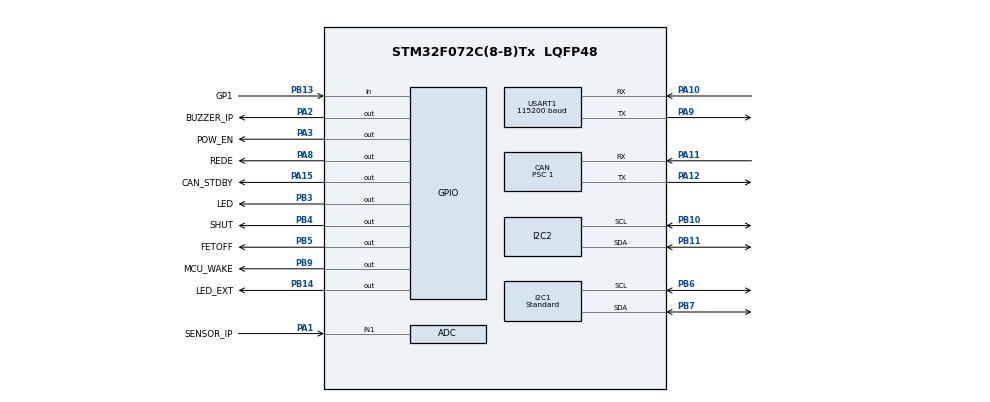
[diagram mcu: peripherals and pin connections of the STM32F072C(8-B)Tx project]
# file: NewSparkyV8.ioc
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ADC.LowPowerAutoPowerOff=ENABLE
ADC.LowPowerAutoWait=ENABLE
CAN.BS1=CAN_BS1_13TQ
CAN.BS2=CAN_BS2_2TQ
CAN.CalculateBaudRate=500000
CAN.CalculateTimeBit=2000
CAN.CalculateTimeQuantum=125.0
CAN.Prescaler=1
I2C1.I2C_Speed_Mode=I2C_Standard
Mcu.Family=STM32F0
Mcu.Name=STM32F072C(8-B)Tx
Mcu.Package=LQFP48
NVIC.CEC_CAN_IRQn=true\:0\:0\:false\:false\:true\:true\:true\:true
NVIC.TIM15_IRQn=true\:0\:0\:false\:false\:true\:true\:true\:true
NVIC.TIM3_IRQn=true\:0\:0\:false\:false\:true\:true\:true\:true
PA1.GPIO_Label=SENSOR_IP
PA1.Mode=IN1
PA1.Signal=ADC_IN1
PA10.Mode=Asynchronous
PA10.Signal=USART1_RX
PA11.Mode=CAN_Activate
PA11.Signal=CAN_RX
PA12.Mode=CAN_Activate
PA12.Signal=CAN_TX
PA13.Mode=Serial_Wire
PA13.Signal=SYS_SWDIO
PA14.Mode=Serial_Wire
PA14.Signal=SYS_SWCLK
PA15.GPIO_Label=CAN_STDBY
PA15.Signal=GPIO_Output
PA2.GPIO_Label=BUZZER_IP
PA2.Signal=GPIO_Output
PA3.GPIO_Label=POW_EN
PA3.Signal=GPIO_Output
PA8.GPIO_Label=REDE
PA8.Signal=GPIO_Output
PA9.Mode=Asynchronous
PA9.Signal=USART1_TX
PB10.Mode=I2C
PB10.Signal=I2C2_SCL
PB11.Mode=I2C
PB11.Signal=I2C2_SDA
PB13.GPIO_Label=GP1
PB13.Signal=GPIO_Input
PB14.GPIO_Label=LED_EXT
PB14.Signal=GPIO_Output
PB3.GPIO_Label=LED
PB3.Signal=GPIO_Output
PB4.GPIO_Label=SHUT
PB4.Signal=GPIO_Output
PB5.GPIO_Label=FETOFF
PB5.Signal=GPIO_Output
PB6.Mode=I2C
PB6.Signal=I2C1_SCL
PB7.Mode=I2C
PB7.Signal=I2C1_SDA
PB9.GPIO_Label=MCU_WAKE
PB9.Signal=GPIO_Output
PC14-OSC32_IN.Mode=LSE-External-Oscillator
PC14-OSC32_IN.Signal=RCC_OSC32_IN
PC15-OSC32_OUT.Mode=LSE-External-Oscillator
PC15-OSC32_OUT.Signal=RCC_OSC32_OUT
PF0-OSC_IN.Mode=HSE-External-Oscillator
PF0-OSC_IN.Signal=RCC_OSC_IN
PF1-OSC_OUT.Mode=HSE-External-Oscillator
PF1-OSC_OUT.Signal=RCC_OSC_OUT
ProjectManager.HeapSize=0x200
ProjectManager.StackSize=0x400
ProjectManager.TargetToolchain=STM32CubeIDE
RCC.I2c1ClockSelection=RCC_I2C1CLKSOURCE_SYSCLK
RTC.Format=RTC_FORMAT_BIN
RTC.Hours=11
RTC.Minutes=53
RTC.Month=RTC_MONTH_JULY
RTC.Year=24
TIM15.Period=1000-1
TIM15.Prescaler=8000-1
TIM3.Period=1000-1
TIM3.Prescaler=16-1
USART1.BaudRate=115200
USART1.VirtualMode-Asynchronous=VM_ASYNC
VP_RTC_VS_RTC_Activate.Mode=RTC_Enabled
VP_RTC_VS_RTC_Calendar.Mode=RTC_Calendar
VP_TIM15_VS_ClockSourceINT.Mode=Internal
VP_TIM3_VS_ClockSourceINT.Mode=Internal
board=custom

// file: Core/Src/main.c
/* USER CODE BEGIN Header */
/**
  ******************************************************************************
  * @file           : main.c
  * @brief          : Main program body
  * Author: Rohit N Ghosh
  ******************************************************************************
  * @attention
  *
  * Copyright (c) 2022 STMicroelectronics.
  * All rights reserved.
  *
  * This software is licensed under terms that can be found in the LICENSE file
  * in the root directory of this software component.
  * If no LICENSE file comes with this software, it is provided AS-IS.
  *
  ******************************************************************************
  ******************************************************************************

  TODO:LL UART DRIVER
  TODO: LL I2C DRIVER
  TODO: DOD Algorithm

  NOTE: DISABLE  __HAL_LOCK(huart); for UART Tx and Rx HAL functions.

  NOTE: Timer1,Timer2 and Timer3 are variables. Timer1 and Timer2 are related to TIM3 of the MCU and Timer3 is related to TIM15 of the MCU

	This code is for STM32F072C8Tx microcontroller
  */

/*
 * In this version of code, charger connection and disconnection detection is implemented. Independent WatchDog Timer implemented.
 */
/* USER CODE END Header */
#include "main.h"

/* USER CODE BEGIN Includes */
#include <string.h>
#include "bq76952.h"
#include "BQ76952_default_config.h"
#include "flash_072c8.h"
#include "SOCtasks.h"
#include "math.h"
#include "watchdog.h"

//#include "fonts.h"
//#include "can.h"
/* USER CODE END Includes */

/* USER CODE BEGIN PD */
/* Temperature sensor calibration value address */
#define TEMP110_CAL_ADDR ((uint16_t*) ((uint32_t) 0x1FFFF7C2))
#define TEMP30_CAL_ADDR ((uint16_t*) ((uint32_t) 0x1FFFF7B8))
#define VDD_CALIB ((uint16_t) (330))
#define VDD_APPLI ((uint16_t) (300))
float temperature; /* will contain the temperature in degrees Celsius */
#define PID_OFFSET 0

#define DCDP1 3300
#define DCDP2 3200
#define DCDP3 3100
#define DCDP4 3050
#define DCDP5 3000
#define DCDP6 2950
#define DCDP7 2900
#define DCDP8 2850
#define DCDP9 2800

#define CHDP1 3900
#define CHDP2 4000
#define CHDP3 4150
/* USER CODE END PD */

ADC_HandleTypeDef hadc;

CAN_HandleTypeDef hcan;

I2C_HandleTypeDef hi2c1;
I2C_HandleTypeDef hi2c2;

RTC_HandleTypeDef hrtc;

TIM_HandleTypeDef htim3;
TIM_HandleTypeDef htim15;

UART_HandleTypeDef huart1;

/* USER CODE BEGIN PV */

extern uint16_t vcellmode;
uint8_t dataframe[128] = {0};
extern float Temperature[9];
extern uint16_t AlarmBits;
extern int16_t Pack_CC2_Current;
extern int16_t Pack_CC3_Current;

extern uint8_t ProtectionsTriggered;

extern uint16_t value_fetstatus;
extern int32_t AccumulatedCharge_Int; // in BQ769x2_READPASSQ func
extern int32_t AccumulatedCharge_Frac;// in BQ769x2_READPASSQ func
extern int32_t AccumulatedCharge_Time;// in BQ769x2_READPASSQ func
volatile uint16_t adc1Buffer[5];
extern uint16_t CB_ActiveCells;  // Cell Balancing Active Cells
extern uint16_t bat_status;
extern uint16_t CellVoltage [16];
extern int16_t shutdownstackvoltage;
extern uint8_t value_SafetyStatusA;  // Safety Status Register A
extern uint8_t value_SafetyStatusB;  // Safety Status Register B
extern uint8_t value_SafetyStatusC;  // Safety Status Register C
extern uint8_t value_PFStatusA;   // Permanent Fail Status Register A
extern uint8_t value_PFStatusB;   // Permanent Fail Status Register B
extern uint8_t value_PFStatusC;   // Permanent Fail Status Register C
extern uint16_t Stack_Voltage;
extern uint16_t Pack_Voltage;
extern uint8_t FET_Status;

volatile uint16_t Timer1 = 0, Timer2 = 0,Timer3 = 0;
volatile uint8_t wake_timer = 0;
int32_t BATT_SOC = 50;
uint8_t BATT_DOD = 100;
uint8_t BATT_SOH = 100;
uint32_t ShutStVol = 0;
uint16_t pfram;
uint32_t temp = 0;
uint8_t volt_above_SD_vol = 0;
uint8_t state = 3,current_state = 3,previous_state = 3;
uint8_t counter = 0;
uint16_t CellVoltage_Min =0,CellVoltage_Max =0,CellVoltage_Delta = 0;
uint8_t Max_Cell_ID = 0, Min_cell_ID =0;
//uint16_t Temp_Int = 0;
int32_t Temp_Int = 0;
RTC_TimeTypeDef currTime = { 0 };
RTC_DateTypeDef currDate = { 0 };
volatile uint8_t command_buffer[8] = { 0 };
volatile uint8_t message_buffer[8] = { 0 };
uint8_t uart_buffer[32] = { 0 };
uint8_t uart_buffer_ptr = 0;
uint8_t command_source = 0;

/*Modified Portion*/
uint32_t command_count=0;
uint8_t command_value=0;
char time_str[11];
char date_str[10];
char soc_str[10];
char pack_str[10];
//uint8_t updateflag_1=0;
//uint8_t pow_dis=0;
//uint8_t PA3_val=0;
//uint8_t flag=0;
uint8_t required_current = 17;
//uint8_t voltage_high=58;
//uint8_t voltage_low=10;

//Upper limit is 58.8
uint8_t voltage_high=0xF8;
uint8_t voltage_low=0x16;

//Upper limit is 58.10
//uint8_t voltage_high=0xB2;
//uint8_t voltage_low=0x16;

uint8_t charger_byte=1;
uint8_t MinCellVoltageFlag=0;
float dodcalc = 0.0,driftclac = 0.0;

uint8_t can_transmit_error_flag=0;
uint8_t can_receive_error_flag=0;

float voltage = 0.0;
//float current_temp = 0.0;

/*Modified Portion*/

//Uncomment this if required during debugging
/*
extern uint8_t chg_lowestbyte;
extern uint8_t chg_lowbyte;
extern uint8_t chg_highbyte;
extern uint8_t chg_highestbyte;*/

float previous_temp=0;
float soc_value;
float initial_soc;
float soc_value_1; //For continuous CC
float soc_value_2; //For continuous Kalman
uint8_t nonzero_current_flag=0;

int32_t init_charge=0;
float pressure_sensor_voltage;
float pressure_in_kpa;

//Calibrated values provided in the datasheet for pressure sensor
float a_value=0.00229;
float b_value=-0.01429;
float sense_voltage = 0;

uint16_t sensor_val=0;
uint8_t chargerdetect_flag = 0;
uint8_t configcharger_flag = 0;
uint8_t fullcharge_flag = 0;

uint32_t last_time_plugged = 0;
uint32_t current_plug_time = 0;
uint32_t can_rx_counter = 0;
uint8_t unplug_count=0;
uint8_t voltage_threshold_reached=0;

volatile uint8_t sec=0;
volatile uint8_t min =0;
volatile uint8_t hrs = 0;

volatile uint32_t switch_reset_count = 0;

uint8_t conv_flag =0;
uint32_t battery_capacity = 0;

float acc_charge_val=0;
uint32_t acc_charge_int=0;

uint8_t cuv_protection_released = 0;

/* USER CODE END PV */

void SystemClock_Config(void);
static void MX_GPIO_Init(void);
static void MX_CAN_Init(void);
static void MX_I2C2_Init(void);
static void MX_I2C1_Init(void);
static void MX_USART1_UART_Init(void);
static void MX_TIM3_Init(void);
static void MX_TIM15_Init(void);
static void MX_ADC_Init(void);
static void MX_RTC_Init(void);
/* USER CODE BEGIN PFP */
void configs();
void state_management();
void SafetyStatusActions();
void Calc_Delta();

/*Function to initialize time*/
void set_time();

uint32_t EEPROM_RAM_REG[512] = {0};
volatile uint8_t buff1AA[32] = { '0' };
void CAN_Filter_config();
void HAL_CAN_RxFifo0MsgPendingCallback(CAN_HandleTypeDef *hcan);
void HAL_CAN_ErrorCallback(CAN_HandleTypeDef *hcan);
void write_dataframe();
void CAN_TX();
void update_message_buffer();
void LED_ON();
void LED_OFF();
void BUZZER_ON();

void GPIO_init();
void cuv_reset();

/* USER CODE END PFP */

/* USER CODE BEGIN 0 */

uint32_t same_cond_cntr = 0;
uint32_t cell_uv_timer = 0;

/*Device UID*/
/*
uint32_t UID1=0;
uint32_t UID2=0;
uint32_t UID3=0;*/

void tostring(char str[], uint32_t num)
{
    int i, rem, len = 0, n;

    n = num;
    while (n != 0)
    {
        len++;
        n /= 10;
    }
    for (i = 0; i < len; i++)
    {
        rem = num % 10;
        num = num / 10;
        str[len - (i + 1)] = rem + '0';
    }
    str[len] = '\0';
}

void ADC_Channel1_Init()
{
	  ADC_ChannelConfTypeDef sConfig = {0};
	  sConfig.Channel = ADC_CHANNEL_1;
	  sConfig.Rank = 1;
	  sConfig.SamplingTime = ADC_SAMPLETIME_71CYCLES_5;
	  if (HAL_ADC_ConfigChannel(&hadc, &sConfig) != HAL_OK)
	  {
	    Error_Handler();
	  }

}

void ADC_TempChannel_Init()
{
	  ADC_ChannelConfTypeDef sConfig = {0};
	  sConfig.Channel = ADC_CHANNEL_TEMPSENSOR;
	  sConfig.Rank = 1;
	  sConfig.SamplingTime = ADC_SAMPLETIME_71CYCLES_5;
	  if (HAL_ADC_ConfigChannel(&hadc, &sConfig) != HAL_OK)
	  {
	    Error_Handler();
	  }
}

/* USER CODE END 0 */

int main(void)
{

  /* MCU Configuration--------------------------------------------------------*/

  /* Reset of all peripherals, Initializes the Flash interface and the Systick. */
  HAL_Init();

  /* Configure the system clock */
  SystemClock_Config();

  /* Initialize all configured peripherals */
  MX_GPIO_Init();
  MX_CAN_Init();
  MX_I2C2_Init();
  MX_I2C1_Init();
  MX_USART1_UART_Init();
  MX_TIM3_Init();
  MX_TIM15_Init();
  MX_ADC_Init();
  MX_RTC_Init();
  /* USER CODE BEGIN 2 */

  HAL_GPIO_WritePin(POW_EN_GPIO_Port, POW_EN_Pin, GPIO_PIN_SET);
  GPIO_init();
  LED_ON();
  //LED_EXT_ON();

  Flash_Data_init();
  CommandSubcommands(BQ769x2_RESET);  // Resets the BQ769x2 registers
  HAL_Delay(100);

  //Uncomment this for dummy code
  //while(1);

  BQ769x2_Init();  // Configure all of the BQ769x2 register settings

  //Uncomment this for dummy code
  //while(1);
  //Finding the device id
  //UID1 = WAFER_XY;
  //UID2 = WAFERID_LOTLSB;
  //UID3 = LOT_MSB;

 // CommandSubcommands(SLEEP_DISABLE);
  HAL_ADCEx_Calibration_Start(&hadc);
  //HAL_ADC_Start_DMA(&hadc,(uint32_t*) &Temp_Int, 1);

  //HAL_ADC_Start_DMA(&hadc,(uint32_t*) raw_adc_values, 2);

  HAL_TIM_Base_Start_IT(&htim3);

  HAL_TIM_Base_Start_IT(&htim15);

  HAL_GPIO_WritePin(FETOFF_GPIO_Port, FETOFF_Pin, GPIO_PIN_RESET);  // deassert DFETOFF pin (BOTHOFF)
  //while(1); //Uncomment this for testing FETs on BQStudio
  //HAL_Delay(1000);

  CAN_Filter_config();
  HAL_GPIO_WritePin(CAN_STDBY_GPIO_Port,CAN_STDBY_Pin, GPIO_PIN_RESET);  // RST_SHUT pin set low
  HAL_CAN_ActivateNotification(&hcan, CAN_IT_TX_MAILBOX_EMPTY | CAN_IT_RX_FIFO0_MSG_PENDING | CAN_IT_BUSOFF);
  if (HAL_CAN_Start(&hcan) != HAL_OK)
  {
	  Error_Handler();
  }
  CommandSubcommands(RESET_PASSQ);
  BQ769x2_ReadPassQ();

  HAL_GPIO_WritePin(MCU_WAKE_GPIO_Port, MCU_WAKE_Pin, GPIO_PIN_RESET);

  /*Modified Portion*/
  //Initializing the LCD screen

  //ssd1306_Init();
	/*Modified Portion*/
	//Displaying on the screen
  //ssd1306_SetCursor(10,10);
  //ssd1306_WriteChar("HELLO",Font_7x10,White);
  //ssd1306_UpdateScreen();
  //SSD1306_UpdateScreen();

  LED_OFF();

  //Here it is just for testing. Depending on the value of the pressure sensor, the buzzer should be turned on or off.
  //BUZZER_ON();

  //Estimating the initial SoC for filter parameter initialization.
  BQ769x2_ReadAllVoltages(); //Read all voltages

  //Initializing the Kalman Filter for SoC estimation
  init_filter_parameters(0.5f, 0.01f, 0.001f, 0.01f, BATTERY_CAPACITY);
  //HAL_Delay(1000);
  //Initializing the time with backup
/*  if(HAL_RTCEx_BKUPRead(&hrtc, RTC_BKP_DR1) != 0x32F2)
      {
        set_time();
      }*/

//Checking for Timer 15 operation

/*
  while(1)
  {

	  if (!Timer3) //(!wake_timer)Once a second
	  {
		HAL_GPIO_TogglePin (LED_GPIO_Port, LED_Pin);
			Timer3 = 1;

	  }

  }*/

	  //CommandSubcommands(FET_ENABLE);
	 // CommandSubcommands(PDSGTEST);
  //ssd1306_Init();

  //iwdg_init();
  /* USER CODE END 2 */

  /* Infinite loop */
  while (1)
  {

    /* USER CODE BEGIN 3 */
	  if(!Timer2) //every 100ms during idle 20ms during active
	  {
		    	AlarmBits = BQ769x2_ReadAlarmStatus();
  				//BQ769x2_ReadSafetyStatus();
  				//BQ769x2_ReadPFStatus();
	  			//BQ769x2_ReadPFStatus();

	  			if (AlarmBits & 0x80)
	  			{
	  				/*Use this line only for debugging purposes. It causes RAM issues and hence no proper restart*/
	  				//BQ769x2_ReadDASTATUS1();
	  				// Check if FULLSCAN is complete. If set, new measurements are available
	  				BQ769x2_ReadAllVoltages();
	  				Pack_CC2_Current = BQ769x2_ReadCurrent();
	  				BQ769x2_ReadFETStatus();
	  				DirectCommands(AlarmStatus, 0x0080, W);  // Clear the FULLSCAN bit
		  			Calc_Delta();
		  			BQ769x2_ReadDASTATUS5();
	  			}

	  			if (AlarmBits & 0x2000)
	  			{  // If Safety Status bits are showing in AlarmStatus register
	  				BQ769x2_ReadPFStatus(); // Read the Safety Status registers to find which protections have triggered
	  				if (ProtectionsTriggered & 1)
	  				{
	  					LED_ON();
	  				}// Turn on the LED to indicate Protection has triggered
	  				//DirectCommands(AlarmStatus, 0xF800, W); // Clear the Safety Status Alarm bits.
	  			}

	  			if (AlarmBits & 0xC000)
	  			{  // If Safety Status bits are showing in AlarmStatus register
	  				BQ769x2_ReadSafetyStatus(); // Read the Safety Status registers to find which protections have triggered
	  				//update_time_in_flash();
		  			//read_snapshot_from_flash();

	  				if (ProtectionsTriggered & 1)
	  				{
	  					LED_ON();
	  				}// Turn on the LED to indicate Protection has triggered
	  				DirectCommands(AlarmStatus, 0xF800, W); // Clear the Safety Status Alarm bits.
	  				SafetyStatusActions();
	  			}

   			    else
	  			{
	  				if (ProtectionsTriggered & 1)
	  				{
	  					BQ769x2_ReadSafetyStatus();
	  					if (!(ProtectionsTriggered & 1))
	  					{
	  						LED_OFF();
	  					}
	  				} // Turn off the LED if Safety Status has cleared which means the protection condition is no longer present
	  			}

	  			state_management();

	  			if(state == IDLE)
	  			{
	  				Timer2=100;
	  			}
	  			else
	  			{
	  				Timer2=10;
	  			}
	  }
	  if (!Timer3) //(!wake_timer)Once a second
	  {

		//Can be commented/uncommented whenever required

		  /*
		  if((Pack_Voltage>53000))
			{
				if(voltage_threshold_reached==0)
				{
					required_current = 16;
					//required_current=15;
					voltage_threshold_reached=1;
				}	//protection_released=0;
			}*/

	  			//sprintf((char*)time_str,"%02d:%02d:%02d:%02d",currDate.WeekDay,currTime.Hours,currTime.Minutes,currTime.Seconds);
	  			//sprintf((char*)date_str,"%02d:%02d:%02d",currDate.Date,currDate.Month,2000+currDate.Year);
	  			//update_time_in_flash();
	  			//CommandSubcommands(CHGTEST);
  				//update_time_in_flash();
	  			//fault_condition_voltages();
	  			//time_in_flash();
	  			//update_in_flash();
	  			//read_snapshot_from_flash();

	  			BQ769x2_ReadPassQ();
	  			bat_status = BQ769x2_BatStatus();
	  			BQ769x2_CB_Activecells();

	  			ShutStVol=BQ769x2_ReadRegister(ShutdownStackVoltage);
	  			//temp=BQ769x2_ReadRegister(SCDDelay);

	  			//pfram=BQ769x2_ReadSavedPF();

	  			if(ShutStVol!=shutdownstackvoltage)
	  			{
	  				configs();
	  			}

	  			if(Stack_Voltage>(shutdownstackvoltage*10) + 50)
	  			{
	  				volt_above_SD_vol = 1;
	  			}
/*
	  			if((Stack_Voltage<(shutdownstackvoltage*10) + 50) && volt_above_SD_vol)
	  			{

	  				same_cond_cntr++;
	  				if(same_cond_cntr > 10)
	  				{
	  					same_cond_cntr = 0;
	  					configs();
	  					CommandSubcommands(SHUTDOWN);
	  					CommandSubcommands(SHUTDOWN);
	  					//pow_dis=1;
	  					HAL_GPIO_WritePin(POW_EN_GPIO_Port, POW_EN_Pin, GPIO_PIN_RESET);  // POW_EN pin set High
	  					//HAL_GPIO_WritePin(POW_EN_GPIO_Port, POW_EN_Pin, GPIO_PIN_SET);  // POW_EN pin set High

	  				}
	  			}
	  			if(AlarmBits==bat_status && bat_status == CellVoltage[0] && CellVoltage[0] == CellVoltage[15])
	  			{
	  				same_cond_cntr++;
	  				if(same_cond_cntr > 10)
	  				{
	  					same_cond_cntr = 0;
	  					configs();
	  					HAL_GPIO_WritePin(POW_EN_GPIO_Port, POW_EN_Pin, GPIO_PIN_RESET);  // POW_EN pin set High
	  					//HAL_GPIO_WritePin(POW_EN_GPIO_Port, POW_EN_Pin, GPIO_PIN_SET);  // POW_EN pin set High

	  				}

	  			}*/

	  			//If the cell under voltage fault is more than 3 minutes, the AFE registers are reset.
	  			//This feature is used if the charger is not able to detect the voltage in CUV fault condition.

	  			//cuv_reset();

	  			//Manually reset the mcu
	  			switch_reset();

	  			//Reading the sensor value and internal temperature
	  		    //sensor_val=raw_adc_values[0];
	  		    //Temp_Int=raw_adc_values[1];

	  			//Disabling Channel 16 and enabling Channel1
	  			ADC1->CHSELR&=~(1<<16);
	  			ADC1->CHSELR|=(1<<1);

	  			//Starting the channel1 sampling and conversion
	  			ADC_Channel1_Init();
	  			HAL_ADC_Start(&hadc);
	  			HAL_ADC_PollForConversion(&hadc, 5);
	  			sensor_val = HAL_ADC_GetValue(&hadc);
	  			HAL_ADC_Stop(&hadc);

	  			//Disabling channel 1 and enabling channel 16
	  			ADC1->CHSELR&=~(1<<1);
	  			ADC1->CHSELR|=(1<<16);

	  			//Starting Channel 16 sampling and conversion
	  			ADC_TempChannel_Init();
	  			HAL_ADC_Start(&hadc);
	  			HAL_ADC_PollForConversion(&hadc, 5);
	  			Temp_Int = HAL_ADC_GetValue(&hadc);
	  			HAL_ADC_Stop(&hadc);

	  			//temperature = (((int32_t) Temp_Int * VDD_APPLI / VDD_CALIB) - (int32_t) *TEMP30_CAL_ADDR );
	  			temperature = (Temp_Int * (int32_t)VDD_APPLI / VDD_CALIB) - (int32_t) *TEMP30_CAL_ADDR ;
	  			temperature = temperature * (int32_t)(110 - 30);
	  			temperature = temperature / (int32_t)(*TEMP110_CAL_ADDR - *TEMP30_CAL_ADDR);
	  			//temperature = temperature-30; //Check this correction. It is working on some boards and not on others.
	  			//temperature = (Temp_Int-1.43)/((4.3+25)*10);
	  			//sense_voltage = (3.3f/4096) *Temp_Int;
	  			//temperature = (1.43-sense_voltage)/0.0043 + 25;

	  			//Existing thermistor readings
	  			/*
	  			Temperature[0] = BQ769x2_ReadTemperature(TS1Temperature);
  				Temperature[1] = BQ769x2_ReadTemperature(TS3Temperature);
  				Temperature[2] = BQ769x2_ReadTemperature(ALERTTemperature);
  				Temperature[3] = BQ769x2_ReadTemperature(HDQTemperature);
  				Temperature[4] = BQ769x2_ReadTemperature(CFETOFFTemperature);
  				Temperature[5] = BQ769x2_ReadTemperature(DDSGTemperature);
  				Temperature[6] = BQ769x2_ReadTemperature(DCHGTemperature);*/

  				//Modified thermistor readings
	  			Temperature[0] = BQ769x2_ReadTemperature(DDSGTemperature);
  				Temperature[1] = BQ769x2_ReadTemperature(DCHGTemperature);;
  				Temperature[2] = BQ769x2_ReadTemperature(CFETOFFTemperature);
  				Temperature[3] = BQ769x2_ReadTemperature(HDQTemperature);
  				Temperature[4] = BQ769x2_ReadTemperature(ALERTTemperature);
  				Temperature[5] = BQ769x2_ReadTemperature(TS3Temperature);
  				Temperature[6] = BQ769x2_ReadTemperature(TS1Temperature);

  				Temperature[7] = BQ769x2_ReadTemperature(IntTemperature);
  				Temperature[8] = temperature;

  				/*
  				//Thermal Runaway condition
  				//(i) Monitoring the selected cell voltage. It should drop during thermal runaway.
  				 // (ii) Monitoring dT/dt. dT/dt>=(1 degree/1 second)

  				 present_temp = Temperature[1];
  				 present_cell_voltage =
  				 if(((present_cell_voltage-previous_cell_voltage)>1000)&&((present_temp-previous_temp)>=100))
  				 {
  					 LED_ON();
  					 BUZZER_ON();
  					 thermal_runaway_detection=1;
  				 }

  				 if(thermal_runaway_detection==0)
  				 {
  				 	 previous_cell_voltage = present_cell_voltage;
  				 	 previous_temp=present_temp;//Needs to be changed based on the selected thermistor
	  	  	  	  }*/

	  		    //Computing the pressure value
	  		    if(sensor_val>0)
	  		    {
	  		    	pressure_value();
	  		    }
//////////////////////////////////////////////////////////////////////////////SOC STUFF//////////////////////////////////

	  		    //Calculating the charge accumulated value seperately

	  		   acc_charge_val = acc_charge_val+(Pack_CC3_Current/100.0f); //Battery capacity in ampere seconds

	  		   acc_charge_int =  (int)acc_charge_val;

	  		    //Reading all cell voltages before calculating the SoC

	  		    voltage = Compute_Cell_Average(CellVoltage);
	  		    voltage = voltage/1000.0f;

	  			if(voltage>0)
	  			{

	  				//To find out when the current becomes non zero for the first time.
	  				if(nonzero_current_flag==0)
	  				{

	  					/*Modified Portion*/

	  					if(cuv_protection_released == 1)
	  					{
	  						nonzero_current_flag = 1;
	  						cuv_protection_released = 0;
	  						initial_soc = 0.01;
	  						soc_value = initial_soc;
	  					}
	  					else
	  					{
	  						if(abs(Pack_CC3_Current)>10)
	  						{
	  							nonzero_current_flag = 1;
	  						}

		  					initial_soc = compute_soc(voltage,Pack_CC3_Current,nonzero_current_flag,value_SafetyStatusA);
		  					//soc_value = compute_soc(voltage,Pack_CC3_Current,nonzero_current_flag,value_SafetyStatusA);
		  				//soc_value = soc_value - 0.13;
		  					//initial_soc = soc_value;

		  				//Corrections for reset. Needs to be modified

		  					if(initial_soc  >= 0.95)
		  					{
		  						initial_soc = initial_soc+(1-initial_soc);
		  					}
		  					soc_value = initial_soc;

		  				}

	  					/*Previous unmodified*/

	  					/*
	  					if(abs(Pack_CC3_Current)>10)
	  					{
	  						nonzero_current_flag = 1;
	  					}

		  				soc_value = compute_soc(voltage,Pack_CC3_Current,nonzero_current_flag,value_SafetyStatusA);
		  				//soc_value = soc_value - 0.13;
		  				initial_soc = soc_value;

		  				//Corrections for reset. Needs to be modified

		  				if(initial_soc  >= 0.95)
		  				{
		  					initial_soc = initial_soc+(1-initial_soc);
		  				}
		  				if(initial_soc<0.1)
		  				{
		  					initial_soc = 0;
		  				}*/
	  				}
	  				//soc_value = compute_soc(voltage,Pack_CC3_Current,nonzero_current_flag,value_SafetyStatusA);

	  				else
	  				{
	  					//soc_value = compute_soc_cc(Pack_CC3_Current,initial_soc);
	  					soc_value_1 = compute_soc_cc(Pack_CC3_Current,initial_soc,value_SafetyStatusA);
	  					//soc_value_2 = compute_soc(voltage,Pack_CC3_Current,nonzero_current_flag,value_SafetyStatusA);

	  					//Double averaging the obtained SoC values
	  					//soc_value = (soc_value_1 + soc_value_2)/2;
	  					//soc_value = (soc_value +soc_value_1)/2;
	  					soc_value = soc_value_1;
	  					//soc_value = soc_value_1;
	  					//Ensuring that soc is within the range
	  					if (soc_value>1)
	  					{
	  						soc_value = 1;
	  					}
	  					else if(soc_value < 0)
	  					{
	  						soc_value = 0;
	  					}
	  					else
	  					{
	  						soc_value = soc_value;
	  					}
	  				}
	  			}
	  			else
	  			{
	  				soc_value = 0;
	  			}
  				//compute_soc(state,acc_charge,safety_stat,Stack_Voltage);
  				//compute_soc(init_charge,AccumulatedCharge_Int,safety_stat,Stack_Voltage);

  				BATT_SOC = (int)(soc_value*100);

	  			//SoC along with applied correction factor
	  			/*
	  			if(nonzero_current_flag==0)
	  			{
	  				BATT_SOC = (int)(initial_soc*100);
	  			}
	  			else
	  			{
	  				BATT_SOC = (int)(soc_value*100); //Rounding off the float value
	  			}*/
	  			//BATT_SOC = soccalc;
	  			//BATT_SOH = sohcalc;
	  			//ssd1306_SetCursor(10,10);
	  		    //ssd1306_WriteString(sprintf(soc_str,"%d",BATT_SOC), Font_7x10, Blue);
	  		    //ssd1306_UpdateScreen();
	  			//sprintf(soc_str,"%d",BATT_SOC);
	  			//ssd1306_SetCursor(10,10);
	  			//ssd1306_WriteString("Hello", Font_7x10, Blue);
	  			//ssd1306_UpdateScreen();

///////////////////////////////////////////////////////////////////////////////////////////////////////////////////////////////////////

	  			//Calculating the battery capacity in mAh
	  			//battery_capacity = battery_capacity + (abs(Pack_CC3_Current)/360);

	  			//Calculating the battery capacity in Ah
	  			battery_capacity = battery_capacity + (abs(Pack_CC3_Current)/360000);

	  			wake_timer = 1;
	  			Timer3 = 1;
	  		  command_count++;

		  		//Incrementing the current plugging time

	  		  /*

		  		if(configcharger_flag==1)
		  		{
		  			current_plug_time++;
		  		}*/
	  		  if(configcharger_flag==1)
	  		  {
	  			  if((can_rx_counter==1)&&(last_time_plugged==0))
	  			  {
	  				  unplug_count++;
	  			  }
	  		  }
	  }
	  if(flash_update_config_status())
	  {
		  configs();

	  }
	  if(flash_save_config_status())
	  {
		  save_flash_reg();

	  }
	  if(command_source)
	  {
		  update_message_buffer();
		  if(command_source&0x01)
		  {
			  uint8_t crlf[] ="\r\n";
			  HAL_GPIO_WritePin(REDE_GPIO_Port, REDE_Pin, GPIO_PIN_SET);
			  HAL_UART_Transmit(&huart1,message_buffer,8, HAL_MAX_DELAY);
			  HAL_UART_Transmit(&huart1,crlf,2, HAL_MAX_DELAY);
			  HAL_GPIO_WritePin(REDE_GPIO_Port, REDE_Pin, GPIO_PIN_RESET);
			  command_source = command_source & ~0x01;
		  }
		  if(command_source&0x02)
		  {
			  CAN_TX();
			  command_source = command_source & ~0x02;
		  }
		  uint8_t i=0;
		  for(i = 0 ;i<8;i++)
		  {
			  message_buffer[i] = 0;
		  }
	  }

	  /*Displaying on the LCD Screen*/

	 /* tostring(soc_str,BATT_SOC);
	  ssd1306_SetCursor(10,30);
	  ssd1306_WriteString("SOC=", Font_7x10, Blue);
	  ssd1306_SetCursor(40,30);
	  ssd1306_WriteString(soc_str, Font_7x10, Blue);
	  ssd1306_SetCursor(60,30);
	  ssd1306_WriteString("%", Font_7x10, Blue);
	  ssd1306_SetCursor(10,20);
	  ssd1306_WriteString("PV=", Font_7x10, Blue);
	  tostring(pack_str,Pack_Voltage/1000);
	  ssd1306_SetCursor(30,20);
	  ssd1306_WriteString(pack_str, Font_7x10, Blue);
	  ssd1306_UpdateScreen();*/

	  //Configuring the FETs to detect the charger

	  if((chargerdetect_flag==1) && (configcharger_flag==0))
	  {
		  //CommandSubcommands(BQ769x2_RESET);  // Resets the BQ769x2 registers
		  //HAL_Delay(20);
		  //BQ769x2_Init();  // Configure all of the BQ769x2 register settings
		   if(value_SafetyStatusA==0x04)
		   {
				DirectCommands(SafetyStatusA, 0x00, W); //Clearing the fault in case of CUV
				value_SafetyStatusA = 0x00; //Updating this value for SoC calculation

				nonzero_current_flag=0;

				//Function to reset the charge accumulated value. This will act like reset.
				chg_dsg_done();
  				voltage_threshold_reached=0;

				cuv_protection_released = 1;
		   }

		  PowerConfig_Charger();//Configuring the FETs to be out of sleep mode
		  configcharger_flag=1;// Since charger is configured, this flag is set

	  }

	  //If the charging is complete, configure the FETs back to sleep mode
	  /*if((charger_byte==3)&&(fullcharge_flag==0))
	  {
		  PowerConfig_FullCharge();
		  fullcharge_flag=1;
	  }*/
	  //Checking for charger unplugged event and reconfigure the FETs to sleep mode if unplugged

	  if(configcharger_flag==1)
	  {

		  /*
		  if(value_SafetyStatusA==0x08)
		  {
			  if((current_plug_time-last_time_plugged)>10)
			  {
				   chargerdetect_flag=0;
				   configcharger_flag=0;
				   current_plug_time=0;
				   last_time_plugged=0;

				   PowerConfig_FullCharge();
			  }
		  }*/

		  if(unplug_count>10)
		  {
			   unplug_count=0;
			   chargerdetect_flag=0;
			   configcharger_flag=0;
			   current_plug_time=0;
			   last_time_plugged=0;

			   if(value_SafetyStatusA==0x08)
			   {
					//DirectCommands(SafetyStatusA, 0x00, W); //Clearing the fault in case of CUV
					//value_SafetyStatusA = 0x00; //Updating this value for SoC calculation
					//Estimating the SoC after detecting charger removal at COV fault
				    nonzero_current_flag=0;

					//Function to reset the charge accumulated value. This will act like reset.
					chg_dsg_done();

				   /*
					voltage = Compute_Cell_Average(CellVoltage);
		  		    voltage = voltage/1000.0f;
	  				soc_value = compute_soc(voltage,Pack_CC3_Current,nonzero_current_flag,value_SafetyStatusA);
	  				initial_soc = soc_value;
	  				if(initial_soc  >= 0.95)
	  				{
	  					initial_soc = initial_soc+(1-initial_soc);
	  				}*/
				    //This can be one option for resetting
					//NVIC_SystemReset();

			   }

			   PowerConfig_FullCharge();
		  }

		  /*
		  if((can_rx_counter==1)&&(last_time_plugged==0))
		  {
				 unplug_count++;
				 if(unplug_count >10)
				 {
					  chargerdetect_flag=0;
					  configcharger_flag=0;
					  last_time_plugged=0;
					  unplug_count=0;
					  PowerConfig_FullCharge();

				 }

		  }*/

/*
		  else
		  {
			  if((can_rx_counter-last_time_plugged)>10)
			  {
				   chargerdetect_flag=0;
				   configcharger_flag=0;
				   current_plug_time=0;
				   last_time_plugged=0;

				   PowerConfig_FullCharge();
			  }
		  }*/
	  }

	  //Enable refresh
	  //IWDG->KR =IWDG_REFRESH_ENABLE;
	  //while(1);
  }

  /* USER CODE END 3 */
}

void SystemClock_Config(void)
{
  RCC_OscInitTypeDef RCC_OscInitStruct = {0};
  RCC_ClkInitTypeDef RCC_ClkInitStruct = {0};
  RCC_PeriphCLKInitTypeDef PeriphClkInit = {0};

  /** Initializes the RCC Oscillators according to the specified parameters
  * in the RCC_OscInitTypeDef structure.
  */
  RCC_OscInitStruct.OscillatorType = RCC_OSCILLATORTYPE_HSI|RCC_OSCILLATORTYPE_HSI14
                              |RCC_OSCILLATORTYPE_LSI;
  RCC_OscInitStruct.HSIState = RCC_HSI_ON;
  RCC_OscInitStruct.HSI14State = RCC_HSI14_ON;
  RCC_OscInitStruct.HSICalibrationValue = RCC_HSICALIBRATION_DEFAULT;
  RCC_OscInitStruct.HSI14CalibrationValue = 16;
  RCC_OscInitStruct.LSIState = RCC_LSI_ON;
  RCC_OscInitStruct.PLL.PLLState = RCC_PLL_NONE;
  if (HAL_RCC_OscConfig(&RCC_OscInitStruct) != HAL_OK)
  {
    Error_Handler();
  }

  /** Initializes the CPU, AHB and APB buses clocks
  */
  RCC_ClkInitStruct.ClockType = RCC_CLOCKTYPE_HCLK|RCC_CLOCKTYPE_SYSCLK
                              |RCC_CLOCKTYPE_PCLK1;
  RCC_ClkInitStruct.SYSCLKSource = RCC_SYSCLKSOURCE_HSI;
  RCC_ClkInitStruct.AHBCLKDivider = RCC_SYSCLK_DIV1;
  RCC_ClkInitStruct.APB1CLKDivider = RCC_HCLK_DIV1;

  if (HAL_RCC_ClockConfig(&RCC_ClkInitStruct, FLASH_LATENCY_0) != HAL_OK)
  {
    Error_Handler();
  }
  PeriphClkInit.PeriphClockSelection = RCC_PERIPHCLK_USART1|RCC_PERIPHCLK_I2C1
                              |RCC_PERIPHCLK_RTC;
  PeriphClkInit.Usart1ClockSelection = RCC_USART1CLKSOURCE_PCLK1;
  PeriphClkInit.I2c1ClockSelection = RCC_I2C1CLKSOURCE_SYSCLK;
  PeriphClkInit.RTCClockSelection = RCC_RTCCLKSOURCE_LSI;
  if (HAL_RCCEx_PeriphCLKConfig(&PeriphClkInit) != HAL_OK)
  {
    Error_Handler();
  }
}

static void MX_ADC_Init(void)
{

  ADC_ChannelConfTypeDef sConfig = {0};

  /** Configure the global features of the ADC (Clock, Resolution, Data Alignment and number of conversion)
  */
  hadc.Instance = ADC1;
  hadc.Init.ClockPrescaler = ADC_CLOCK_ASYNC_DIV1;
  hadc.Init.Resolution = ADC_RESOLUTION_12B;
  hadc.Init.DataAlign = ADC_DATAALIGN_RIGHT;
  hadc.Init.ScanConvMode = ADC_SCAN_DIRECTION_FORWARD;
  hadc.Init.EOCSelection = ADC_EOC_SINGLE_CONV;
  hadc.Init.LowPowerAutoWait = ENABLE;
  hadc.Init.LowPowerAutoPowerOff = ENABLE;
  hadc.Init.ContinuousConvMode = DISABLE;
  hadc.Init.DiscontinuousConvMode = DISABLE;
  hadc.Init.ExternalTrigConv = ADC_SOFTWARE_START;
  hadc.Init.ExternalTrigConvEdge = ADC_EXTERNALTRIGCONVEDGE_NONE;
  hadc.Init.DMAContinuousRequests = DISABLE;
  hadc.Init.Overrun = ADC_OVR_DATA_PRESERVED;
  if (HAL_ADC_Init(&hadc) != HAL_OK)
  {
    Error_Handler();
  }

  /** Configure for the selected ADC regular channel to be converted.
  */
  sConfig.Channel = ADC_CHANNEL_1;
  sConfig.Rank = ADC_RANK_CHANNEL_NUMBER;
  sConfig.SamplingTime = ADC_SAMPLETIME_1CYCLE_5;
  if (HAL_ADC_ConfigChannel(&hadc, &sConfig) != HAL_OK)
  {
    Error_Handler();
  }
  /* USER CODE BEGIN ADC_Init 2 */
  /*
  sConfig.Channel = ADC_CHANNEL_1;
  sConfig.Rank = ADC_RANK_CHANNEL_NUMBER;
  sConfig.SamplingTime = ADC_SAMPLETIME_239CYCLES_5;
  if (HAL_ADC_ConfigChannel(&hadc, &sConfig) != HAL_OK)
  {
    Error_Handler();
  }

  sConfig.Channel = ADC_CHANNEL_TEMPSENSOR;
  if (HAL_ADC_ConfigChannel(&hadc, &sConfig) != HAL_OK)
  {
    Error_Handler();
  }*/
  /* USER CODE END ADC_Init 2 */

}

static void MX_CAN_Init(void)
{

  hcan.Instance = CAN;
  hcan.Init.Prescaler = 1;
  hcan.Init.Mode = CAN_MODE_NORMAL;
  hcan.Init.SyncJumpWidth = CAN_SJW_1TQ;
  hcan.Init.TimeSeg1 = CAN_BS1_13TQ;
  hcan.Init.TimeSeg2 = CAN_BS2_2TQ;
  hcan.Init.TimeTriggeredMode = DISABLE;
  hcan.Init.AutoBusOff = DISABLE;
  hcan.Init.AutoWakeUp = DISABLE;
  hcan.Init.AutoRetransmission = DISABLE;
  hcan.Init.ReceiveFifoLocked = DISABLE;
  hcan.Init.TransmitFifoPriority = DISABLE;
  if (HAL_CAN_Init(&hcan) != HAL_OK)
  {
    Error_Handler();
  }
  /* USER CODE BEGIN CAN_Init 2 */

  // Enable CAN Error Interrupts
  __HAL_CAN_ENABLE_IT(&hcan, CAN_IT_ERROR);
  __HAL_CAN_ENABLE_IT(&hcan, CAN_IT_BUSOFF);

  /* USER CODE END CAN_Init 2 */

}

static void MX_I2C1_Init(void)
{

  hi2c1.Instance = I2C1;
  hi2c1.Init.Timing = 0x2000090E;
  hi2c1.Init.OwnAddress1 = 0;
  hi2c1.Init.AddressingMode = I2C_ADDRESSINGMODE_7BIT;
  hi2c1.Init.DualAddressMode = I2C_DUALADDRESS_DISABLE;
  hi2c1.Init.OwnAddress2 = 0;
  hi2c1.Init.OwnAddress2Masks = I2C_OA2_NOMASK;
  hi2c1.Init.GeneralCallMode = I2C_GENERALCALL_DISABLE;
  hi2c1.Init.NoStretchMode = I2C_NOSTRETCH_DISABLE;
  if (HAL_I2C_Init(&hi2c1) != HAL_OK)
  {
    Error_Handler();
  }

  /** Configure Analogue filter
  */
  if (HAL_I2CEx_ConfigAnalogFilter(&hi2c1, I2C_ANALOGFILTER_ENABLE) != HAL_OK)
  {
    Error_Handler();
  }

  /** Configure Digital filter
  */
  if (HAL_I2CEx_ConfigDigitalFilter(&hi2c1, 0) != HAL_OK)
  {
    Error_Handler();
  }

}

static void MX_I2C2_Init(void)
{

  hi2c2.Instance = I2C2;
  hi2c2.Init.Timing = 0x2000090E;
  hi2c2.Init.OwnAddress1 = 0;
  hi2c2.Init.AddressingMode = I2C_ADDRESSINGMODE_7BIT;
  hi2c2.Init.DualAddressMode = I2C_DUALADDRESS_DISABLE;
  hi2c2.Init.OwnAddress2 = 0;
  hi2c2.Init.OwnAddress2Masks = I2C_OA2_NOMASK;
  hi2c2.Init.GeneralCallMode = I2C_GENERALCALL_DISABLE;
  hi2c2.Init.NoStretchMode = I2C_NOSTRETCH_DISABLE;
  if (HAL_I2C_Init(&hi2c2) != HAL_OK)
  {
    Error_Handler();
  }

  /** Configure Analogue filter
  */
  if (HAL_I2CEx_ConfigAnalogFilter(&hi2c2, I2C_ANALOGFILTER_ENABLE) != HAL_OK)
  {
    Error_Handler();
  }

  /** Configure Digital filter
  */
  if (HAL_I2CEx_ConfigDigitalFilter(&hi2c2, 0) != HAL_OK)
  {
    Error_Handler();
  }

}

static void MX_RTC_Init(void)
{

  RTC_TimeTypeDef sTime = {0};
  RTC_DateTypeDef sDate = {0};

  /** Initialize RTC Only
  */
  hrtc.Instance = RTC;
  hrtc.Init.HourFormat = RTC_HOURFORMAT_24;
  hrtc.Init.AsynchPrediv = 127;
  hrtc.Init.SynchPrediv = 255;
  hrtc.Init.OutPut = RTC_OUTPUT_DISABLE;
  hrtc.Init.OutPutPolarity = RTC_OUTPUT_POLARITY_HIGH;
  hrtc.Init.OutPutType = RTC_OUTPUT_TYPE_OPENDRAIN;
  if (HAL_RTC_Init(&hrtc) != HAL_OK)
  {
    Error_Handler();
  }

  /** Initialize RTC and set the Time and Date
  */
  sTime.Hours = 11;
  sTime.Minutes = 53;
  sTime.Seconds = 0;
  sTime.DayLightSaving = RTC_DAYLIGHTSAVING_NONE;
  sTime.StoreOperation = RTC_STOREOPERATION_RESET;
  if (HAL_RTC_SetTime(&hrtc, &sTime, RTC_FORMAT_BIN) != HAL_OK)
  {
    Error_Handler();
  }
  sDate.WeekDay = RTC_WEEKDAY_MONDAY;
  sDate.Month = RTC_MONTH_JULY;
  sDate.Date = 1;
  sDate.Year = 24;

  if (HAL_RTC_SetDate(&hrtc, &sDate, RTC_FORMAT_BIN) != HAL_OK)
  {
    Error_Handler();
  }

}

static void MX_TIM3_Init(void)
{

  TIM_ClockConfigTypeDef sClockSourceConfig = {0};
  TIM_MasterConfigTypeDef sMasterConfig = {0};

  htim3.Instance = TIM3;
  htim3.Init.Prescaler = 16-1;
  htim3.Init.CounterMode = TIM_COUNTERMODE_UP;
  htim3.Init.Period = 1000-1;
  htim3.Init.ClockDivision = TIM_CLOCKDIVISION_DIV1;
  htim3.Init.AutoReloadPreload = TIM_AUTORELOAD_PRELOAD_DISABLE;
  if (HAL_TIM_Base_Init(&htim3) != HAL_OK)
  {
    Error_Handler();
  }
  sClockSourceConfig.ClockSource = TIM_CLOCKSOURCE_INTERNAL;
  if (HAL_TIM_ConfigClockSource(&htim3, &sClockSourceConfig) != HAL_OK)
  {
    Error_Handler();
  }
  sMasterConfig.MasterOutputTrigger = TIM_TRGO_RESET;
  sMasterConfig.MasterSlaveMode = TIM_MASTERSLAVEMODE_DISABLE;
  if (HAL_TIMEx_MasterConfigSynchronization(&htim3, &sMasterConfig) != HAL_OK)
  {
    Error_Handler();
  }

}

static void MX_TIM15_Init(void)
{

  TIM_ClockConfigTypeDef sClockSourceConfig = {0};
  TIM_MasterConfigTypeDef sMasterConfig = {0};

  htim15.Instance = TIM15;
  htim15.Init.Prescaler = 8000-1;
  htim15.Init.CounterMode = TIM_COUNTERMODE_UP;
  htim15.Init.Period = 1000-1;
  htim15.Init.ClockDivision = TIM_CLOCKDIVISION_DIV1;
  htim15.Init.RepetitionCounter = 0;
  htim15.Init.AutoReloadPreload = TIM_AUTORELOAD_PRELOAD_DISABLE;
  if (HAL_TIM_Base_Init(&htim15) != HAL_OK)
  {
    Error_Handler();
  }
  sClockSourceConfig.ClockSource = TIM_CLOCKSOURCE_INTERNAL;
  if (HAL_TIM_ConfigClockSource(&htim15, &sClockSourceConfig) != HAL_OK)
  {
    Error_Handler();
  }
  sMasterConfig.MasterOutputTrigger = TIM_TRGO_RESET;
  sMasterConfig.MasterSlaveMode = TIM_MASTERSLAVEMODE_DISABLE;
  if (HAL_TIMEx_MasterConfigSynchronization(&htim15, &sMasterConfig) != HAL_OK)
  {
    Error_Handler();
  }

}

static void MX_USART1_UART_Init(void)
{

  huart1.Instance = USART1;
  huart1.Init.BaudRate = 115200;
  huart1.Init.WordLength = UART_WORDLENGTH_8B;
  huart1.Init.StopBits = UART_STOPBITS_1;
  huart1.Init.Parity = UART_PARITY_NONE;
  huart1.Init.Mode = UART_MODE_TX_RX;
  huart1.Init.HwFlowCtl = UART_HWCONTROL_NONE;
  huart1.Init.OverSampling = UART_OVERSAMPLING_16;
  huart1.Init.OneBitSampling = UART_ONE_BIT_SAMPLE_DISABLE;
  huart1.AdvancedInit.AdvFeatureInit = UART_ADVFEATURE_NO_INIT;
  if (HAL_UART_Init(&huart1) != HAL_OK)
  {
    Error_Handler();
  }
  /* USER CODE BEGIN USART1_Init 2 */
  __HAL_UART_ENABLE_IT(&huart1, UART_IT_RXNE);
  __HAL_UART_ENABLE_IT(&huart1, UART_IT_IDLE);
  /* USER CODE END USART1_Init 2 */

}

static void MX_GPIO_Init(void)
{
  GPIO_InitTypeDef GPIO_InitStruct = {0};

  /* GPIO Ports Clock Enable */
  __HAL_RCC_GPIOC_CLK_ENABLE();
  __HAL_RCC_GPIOF_CLK_ENABLE();
  __HAL_RCC_GPIOA_CLK_ENABLE();
  __HAL_RCC_GPIOB_CLK_ENABLE();

  /*Configure GPIO pin Output Level */
  HAL_GPIO_WritePin(GPIOA, BUZZER_IP_Pin|POW_EN_Pin|REDE_Pin|CAN_STDBY_Pin, GPIO_PIN_RESET);

  /*Configure GPIO pin Output Level */
  HAL_GPIO_WritePin(GPIOB, LED_EXT_Pin|LED_Pin|SHUT_Pin|FETOFF_Pin
                          |MCU_WAKE_Pin, GPIO_PIN_RESET);

  /*Configure GPIO pins : BUZZER_IP_Pin POW_EN_Pin REDE_Pin CAN_STDBY_Pin */
  GPIO_InitStruct.Pin = BUZZER_IP_Pin|POW_EN_Pin|REDE_Pin|CAN_STDBY_Pin;
  GPIO_InitStruct.Mode = GPIO_MODE_OUTPUT_PP;
  GPIO_InitStruct.Pull = GPIO_NOPULL;
  GPIO_InitStruct.Speed = GPIO_SPEED_FREQ_LOW;
  HAL_GPIO_Init(GPIOA, &GPIO_InitStruct);

  /*Configure GPIO pin : GP1_Pin */
  GPIO_InitStruct.Pin = GP1_Pin;
  GPIO_InitStruct.Mode = GPIO_MODE_INPUT;
  GPIO_InitStruct.Pull = GPIO_NOPULL;
  HAL_GPIO_Init(GP1_GPIO_Port, &GPIO_InitStruct);

  /*Configure GPIO pins : LED_EXT_Pin LED_Pin SHUT_Pin FETOFF_Pin
                           MCU_WAKE_Pin */
  GPIO_InitStruct.Pin = LED_EXT_Pin|LED_Pin|SHUT_Pin|FETOFF_Pin
                          |MCU_WAKE_Pin;
  GPIO_InitStruct.Mode = GPIO_MODE_OUTPUT_PP;
  GPIO_InitStruct.Pull = GPIO_NOPULL;
  GPIO_InitStruct.Speed = GPIO_SPEED_FREQ_LOW;
  HAL_GPIO_Init(GPIOB, &GPIO_InitStruct);

}

/* USER CODE BEGIN 4 */
//XXX User Code Begin 4
void Calc_Delta()
{
	uint8_t i =0;//,temp = vcellmode;
	CellVoltage_Min = CellVoltage[0];
	CellVoltage_Max = CellVoltage[0];
	for (i=0;i<16;i++)
	{
		if((CellVoltage_Min > CellVoltage[i]) && (CellVoltage[i]>1500) && (CellVoltage[i] < 4500))
		{
			CellVoltage_Min = CellVoltage[i];
			Min_cell_ID =i+1;
		}
	}
	for (i=0;i<16;i++)
	{
		if((CellVoltage_Max < CellVoltage[i]) && (CellVoltage[i]>1500) && (CellVoltage[i] < 4500))
		{
			CellVoltage_Max = CellVoltage[i];
			Max_Cell_ID =i+1;
		}
	}
	CellVoltage_Delta = CellVoltage_Max-CellVoltage_Min;

	/*Modified Portion*/
	//If any cell voltage is less than 2.7 voltage flag is raised to 1
	if (CellVoltage_Min<2700)
		MinCellVoltageFlag=1;
	else
		MinCellVoltageFlag=0;
}
void SafetyStatusActions()
{
	if((state == IDLE || state == DISCHARGE)&&(value_SafetyStatusA & 4))
	{
		BQ769x2_ReadPassQ();
		driftclac = 0.0;
		if(AccumulatedCharge_Int !=0)
		{
			CommandSubcommands(RESET_PASSQ);
		}
	}
	if((state == IDLE || state == CHARGE)&&(value_SafetyStatusA & 8))
	{
		BQ769x2_ReadPassQ();
		driftclac = 0.0;
		EEPROM_RAM_REG[507]= AccumulatedCharge_Int;
		if(EEPROM_RAM_REG[507]>EEPROM_RAM_REG[508])
		{
			EEPROM_RAM_REG[508] = EEPROM_RAM_REG[507];
			flash_save_config_set();
		}
	}
}
void configs()
{
	LED_ON();
	HAL_Delay(60);
	BQ769x2_Init();
	HAL_Delay(10);
	LED_OFF();
}
void state_management()
{
	if(Pack_CC3_Current < STATE_DSG_THRESHOLD)
	{
		if(current_state!=DISCHARGE)
		{
			counter = 0;

		}
		current_state = DISCHARGE;
		counter++;
		if(counter>STATE_CHANGE_TIME)
		{
			state = DISCHARGE;
		}
	}
	else if(Pack_CC3_Current > STATE_CHG_THRESHOLD)
	{
		if(current_state!=CHARGE)
		{
			counter = 0;
		}
		current_state = CHARGE;
		counter++;
		if(counter>STATE_CHANGE_TIME)
		{
			state = CHARGE;
		}
	}
	else
	{
		if(current_state!=IDLE)
		{
				counter = 0;
		}
		current_state = IDLE;
		counter++;
		if(counter>STATE_CHANGE_TIME*STATE_IDLE_TIME_MULTIPLIER)
		{
			state = IDLE;
		}
	}

	if(state == CHARGE || state == DISCHARGE)
	{

	}
}
void HAL_TIM_PeriodElapsedCallback(TIM_HandleTypeDef *htim)
{
	if( htim->Instance == TIM3 )
	{
		if(Timer1>0)
		{
			Timer1--;
		}
		if(Timer2>0)
		{
			Timer2--;
		}

	}
	if( htim->Instance == TIM15 )
	{
		if(Timer3>0)
		{
			Timer3--;
		}
	}
}
void HAL_RTCEx_WakeUpTimerEventCallback(RTC_HandleTypeDef *hrtc)
{
	if(wake_timer > 0)
	{
		wake_timer --;
	}
}

void CAN_Filter_config()
{
	CAN_FilterTypeDef can1_filter;
	can1_filter.FilterActivation = ENABLE;
	can1_filter.FilterBank = 0;
	can1_filter.FilterFIFOAssignment = 0;
	can1_filter.FilterIdHigh = 0;
	can1_filter.FilterIdLow = 0;
	can1_filter.FilterMaskIdHigh = 0x00;
	can1_filter.FilterMaskIdLow = 0x00;
	can1_filter.FilterMode = CAN_FILTERMODE_IDMASK;
	can1_filter.FilterScale = CAN_FILTERSCALE_32BIT;

	if (HAL_CAN_ConfigFilter(&hcan, &can1_filter) != HAL_OK)
	{
		Error_Handler();
	}
}

void HAL_CAN_RxFifo0MsgPendingCallback(CAN_HandleTypeDef *hcan)
{
	CAN_RxHeaderTypeDef RxHead;
	uint8_t rcvd[8] =	{ 0 };

	if (HAL_CAN_GetRxMessage(hcan, CAN_RX_FIFO0, &RxHead, rcvd) != HAL_OK)
	{
		can_receive_error_flag=1;
		Error_Handler();
	}

/*	if (RxHead.StdId == EEPROM_RAM_REG[510] || RxHead.ExtId == EEPROM_RAM_REG[510])
	{
			uint8_t i = 0;
			for(i=0;i<8;i++)
			{
				command_buffer[i]=rcvd[i];
			}
			command_source = command_source | 0x02;
	}*/
	/*Modified Portion*/
	//Receiving the data for both 0x1AA and 0x1AD

	//After charger is detected, increment the counter whenever this function is called

	can_rx_counter=0;
	last_time_plugged=0;

	if(configcharger_flag==1)
	{
		can_rx_counter=1;
	}

	if (RxHead.StdId == EEPROM_RAM_REG[510] || RxHead.ExtId == EEPROM_RAM_REG[510])
	{

			uint8_t i = 0;
			for(i=0;i<8;i++)
			{
				command_buffer[i]=rcvd[i];
			}
			command_source = command_source | 0x02;
			//When charger is detected, the sleep mode will be disabled.

			/*
			if (current_plug_time>0)
			{
				last_time_plugged++; //Getting the time when charger is plugged recently
			}*/

			//Detect the last plugged time after configuring the charger

			if(configcharger_flag==1)
			{
				last_time_plugged=1;
				unplug_count=0;
			}

			if((chargerdetect_flag==0)&&(configcharger_flag==0))
			{
				//PowerConfig_Charger();
				chargerdetect_flag=1;
				//fullcharge_flag =0;
			}
	}
	else if (RxHead.StdId == 0x1AD || RxHead.ExtId == 0x1AD)
	{
			uint8_t i = 0;
			for(i=0;i<8;i++)
			{
				command_buffer[i]=rcvd[i];
			}
			command_source = command_source | 0x02;
	}

	//CAN Con address
	else if(RxHead.StdId == 0x1AE || RxHead.ExtId == 0x1AE)
	{
		uint8_t i = 0;
		for(i=0;i<8;i++)
		{
			command_buffer[i]=rcvd[i];
		}
		command_source = command_source | 0x02;
	}

}

// Function to reset the CAN peripheral in case of bus off error
void HAL_CAN_Reset(CAN_HandleTypeDef *hcan) {
    // Disable CAN Busoff interrupt and the error interrupt
	__HAL_CAN_DISABLE_IT(hcan,CAN_IT_BUSOFF);
	__HAL_CAN_DISABLE_IT(hcan,CAN_IT_ERROR);

    // Provide a small delay
    HAL_Delay(10);

    // Reinitialize CAN peripheral
    MX_CAN_Init();

    //Turn off the LED indicator
    LED_OFF();
}

//Function to handle error flags that are generated randomly
void HAL_CAN_ErrorCallback(CAN_HandleTypeDef *hcan)
{

    /*CAN_FLAG_BOF is a BUS OFF error flag.
     * It indicates that there are severe errors in the network and
     * the controller disconnects itself from the CAN BUS*/

	if (__HAL_CAN_GET_FLAG(hcan, CAN_FLAG_BOF)) {

        //LED_ON();

        // Reset the CAN controller
        HAL_CAN_Reset(hcan);
    }

/*
	if (__HAL_CAN_GET_FLAG(hcan, CAN_FLAG_EPV))
	{
        LED_ON();

        // Reset the CAN controller
        HAL_CAN_Reset(hcan);
	}*/

}

void CAN_TX()
{
	CAN_TxHeaderTypeDef TxHeader;
	uint32_t TxMailbox;
	TxHeader.DLC = 8;
	TxHeader.RTR = CAN_RTR_DATA;
	if(EEPROM_RAM_REG[509] < 0x800)
	{
		TxHeader.StdId = EEPROM_RAM_REG[509];
		TxHeader.IDE = CAN_ID_STD;
	}
	else
	{
		TxHeader.ExtId = EEPROM_RAM_REG[509];
		TxHeader.IDE = CAN_ID_EXT;
	}

	/*Unique extended id*/
	//TxHeader.ExtId=EEPROM_RAM_REG[509]<<16+message[0]<<15+message[2]<<7;
	if (HAL_CAN_AddTxMessage(&hcan,&TxHeader, &message_buffer, &TxMailbox) != HAL_OK)
	{
		can_transmit_error_flag=1;
		Error_Handler();
	}

}
void uart_handler(void)
{
  uint8_t buff;
 if(HAL_UART_Receive(&huart1, (uint8_t *)&buff, 1, 995)!= HAL_OK)
 {
	USART1->ICR |= (1 << 3); // make sure overrun error is cleared, otherwise can stall here
 }
  uart_buffer[uart_buffer_ptr] = buff;
  uart_buffer_ptr++;
  if(uart_buffer_ptr>15)
  {
	  uart_buffer_ptr = 0;
  }
  if(uart_buffer[8] == '\r' && uart_buffer[9] == '\n')
  {
	  uint8_t i;
	  for(i=0;i<8;i++)
	  {
	  		command_buffer[i] = uart_buffer[i];
	  }
	  uart_buffer[8] = 0;
	  uart_buffer[9] = 0;
	  uart_buffer_ptr = 0;
	  command_source =command_source|0x01;
  }
}

void uart_idleHandler()
{
	uart_buffer_ptr = 0;
}

/*
 * Reset using switch
 */
void switch_reset()
{

	if(HAL_GPIO_ReadPin(GPIOB,GPIO_PIN_13)==GPIO_PIN_SET)
	{

		switch_reset_count++;
		//LED_ON();
		//Turn off the LED when there is COV (Fully charged) or CUV (Fully discharged) and when it is idle
		if(switch_reset_count>2)
		{
			if((value_SafetyStatusA==0x04)||(value_SafetyStatusA==0x08))
			{
				LED_OFF();
			}

			//Turn on the LED in other cases
			else
			{
				LED_ON();
			}
			NVIC_SystemReset();
		}
	}
	else
	{
		switch_reset_count=0;
		//LED_OFF();
	}

}

void update_message_buffer()
{

	if(command_buffer[1]==0x01 ||command_buffer[1]==0x02)
	{
		uint8_t message[8] = {0};
		uint8_t message_type = command_buffer[2];
		if(PID_OFFSET>0)
		{
			message_type = message_type - PID_OFFSET;
		}
		uint8_t cell1 = message_type*2;
		uint8_t cell2 = cell1+1;

		int16_t temperature_temp = 0;
		uint8_t temp1 = 0;

		if(message_type>0x0A)
		{
			temp1 = 2*(message_type-0x0B);
		}
		uint8_t temp2=temp1+1;

		message[0] = 0x06;
		//message[1] = command_buffer[1];
		message[1]=0x02;
		//message[1]=0x01;
		message[2] = message_type;
		if((message_type > 0x00 && message_type < 0x08) || message_type ==0x00)
		{

			/*
			message[6]=CellVoltage[cell1] & 0xFF;
			message[5]=CellVoltage[cell1] >> 0x08;

			message[4]=CellVoltage[cell2] & 0xFF;
			message[3]=CellVoltage[cell2] >> 0x08;*/
			if((cell1<0x06)||(cell1>0x06))
			{
				message[6]=CellVoltage[cell1] & 0xFF;
				message[5]=CellVoltage[cell1] >> 0x08;

				message[4]=CellVoltage[cell2] & 0xFF;
				message[3]=CellVoltage[cell2] >> 0x08;

			}
			else
			{
				message[6]=0;
				message[5]=0;
				message[4]=0;
				message[3]=0;

			}

		}
		else if(message_type == 0x08)
		{
			message[4]=Pack_CC3_Current & 0xFF;
			message[3]=Pack_CC3_Current >> 0x08;

			message[6]=Stack_Voltage & 0xFF;
			message[5]=Stack_Voltage >> 0x08;
		}
		else if(message_type == 0x09)
		{
			message[4]=Pack_Voltage & 0xFF;
			message[3]=Pack_Voltage >> 0x08;

			message[6]=CB_ActiveCells & 0xFF;
			message[5]=CB_ActiveCells >> 0x08;
		}
		else if(message_type == 0x0A)
		{
			message[4]=value_SafetyStatusA;
			message[3]=ProtectionsTriggered;

			message[6]=value_SafetyStatusC;
			message[5]=value_SafetyStatusB;

			if(value_SafetyStatusA==0x08)
				charger_byte=3;
			else if((value_SafetyStatusB!=0)||(value_SafetyStatusC!=0))
				charger_byte=2;
			else
				charger_byte=1;

		}
		/*

		else if((message_type > 0x0A && message_type <0x010 ))
		{
			temperature_temp = Temperature[temp1]*100;
			message[4]=temperature_temp & 0xFF;
			message[3]=temperature_temp >> 0x08;
			if(message_type!=0x0F)
				temperature_temp = Temperature[temp2]*100;
			if(message_type == 0x0F)
				temperature_temp = 0;

			message[6]=temperature_temp & 0xFF;
			message[5]=temperature_temp >> 0x08;
		}*/

		/*Modified Portion*/
		else if((message_type > 0x0A && message_type <0x0F ))
		{
			temperature_temp = Temperature[temp1]*100;
			message[4]=temperature_temp & 0xFF;
			message[3]=temperature_temp >> 0x08;

			temperature_temp = Temperature[temp2]*100;
			message[6]=temperature_temp & 0xFF;
			message[5]=temperature_temp >> 0x08;

		}

		else if(message_type==0x0F)
		{
			temperature_temp = Temperature[temp1]*100;
			//message[3]=temperature_temp >> 0x08;
			message[3]=MinCellVoltageFlag;
            message[4]=required_current;
            message[5]=voltage_high;
            message[6]=voltage_low;
		}
		else if(message_type == 0x10)
		{
			//message[4]=BATT_SOH;
			message[4]=charger_byte;
			message[3]=BATT_SOC;
			message[5]=FET_Status;
			message[6]=state;
		}

		/*Modified Portion*/
		else if (message_type == 0x11)
		{
			message[4]=CellVoltage_Min&0xFF;
			message[3]=CellVoltage_Min>>0x08;
			message[6]=CellVoltage_Max&0xFF;
			message[5]=CellVoltage_Max>>0x08;

		}
		else if (message_type == 0x12)
		{
			message[4]=0x00;
			//message[3]=0x00;
			message[3]=nonzero_current_flag;
			message[6]=Max_Cell_ID;
			message[5]=Min_cell_ID;

		}

		else if (message_type == 0x13)
		{
			temperature_temp = Temperature[8]*100;
			message[4]=temperature_temp&0xFF;
			message[3]=temperature_temp>>0x08;
			message[6]=CellVoltage_Delta&0xFF;
			message[5]=CellVoltage_Delta>>0x08;
		}

		else if (message_type == 0x14)
		{
			message[6]=acc_charge_int&0xFF;
		    message[5]=(acc_charge_int>>8)&0xFF;
		    message[4]=(acc_charge_int>>0x10)&0xFF;
		    message[3]=	(acc_charge_int>>0x18);
		}
		message[7] = message[3]+message[4]+message[5]+message[6];
		uint8_t i = 0;
		for (i=0;i<8;i++)
		{
			message_buffer[i]=message[i];
			command_buffer[i] = 0;
		}
	}
	if(command_buffer[1]==0x10)
	{
		FLASH_COMMAND(command_buffer[2],command_buffer[3],command_buffer[4],command_buffer[5],command_buffer[6],command_buffer[7]);
		uint8_t i = 0;
		for (i=0;i<8;i++)
		{
			message_buffer[i]=command_buffer[i];
			command_buffer[i] = 0;
		}
	}

}
void LED_ON()
{
	  HAL_GPIO_WritePin(LED_GPIO_Port, LED_Pin, GPIO_PIN_RESET);
	  HAL_GPIO_WritePin(LED_EXT_GPIO_Port, LED_EXT_Pin, GPIO_PIN_SET); //Turning on the external LED
}
void LED_OFF()
{
	  HAL_GPIO_WritePin(LED_GPIO_Port, LED_Pin, GPIO_PIN_SET);
	  HAL_GPIO_WritePin(LED_EXT_GPIO_Port, LED_EXT_Pin, GPIO_PIN_RESET); //Turning off the external LED
}

void BUZZER_ON()
{
	  HAL_GPIO_WritePin(BUZZER_IP_GPIO_Port, BUZZER_IP_Pin, GPIO_PIN_RESET);  // Buzzer ip pin set LOW

}

void BUZZER_OFF()
{
	  HAL_GPIO_WritePin(BUZZER_IP_GPIO_Port, BUZZER_IP_Pin, GPIO_PIN_SET);  // Buzzer ip pin set HIGH

}

void pressure_value()
{
	pressure_sensor_voltage=(sensor_val*(1.0)/4096)*3.3;//VREFINT is 1.23V. Change this value
	pressure_sensor_voltage = pressure_sensor_voltage+0.8;
	pressure_in_kpa = (pressure_sensor_voltage/5)-b_value;
	pressure_in_kpa = pressure_in_kpa/a_value;

	/*
	if ((pressure_in_kpa)>=100)
	{
		BUZZER_ON();
	}
	else
	{
		BUZZER_OFF();
	}*/
	//BUZZER_ON();

}

void GPIO_init()
{
	  HAL_GPIO_WritePin(POW_EN_GPIO_Port, POW_EN_Pin, GPIO_PIN_SET);  // POW_EN pin set High
	  HAL_GPIO_WritePin(SHUT_GPIO_Port,SHUT_Pin, GPIO_PIN_RESET);  // RST_SHUT pin set low
	  HAL_GPIO_WritePin(REDE_GPIO_Port, REDE_Pin, GPIO_PIN_RESET);  // POW_EN pin set High
	  HAL_GPIO_WritePin(CAN_STDBY_GPIO_Port,CAN_STDBY_Pin, GPIO_PIN_SET);  // CAN Low Power Mode
	  //HAL_GPIO_WritePin(CAN_STDBY_GPIO_Port,CAN_STDBY_Pin, GPIO_PIN_RESET);  // CAN High Speed Mode
	  HAL_GPIO_WritePin(FETOFF_GPIO_Port, FETOFF_Pin, GPIO_PIN_SET);  // assert DFETOFF pin (BOTHOFF)
	  HAL_GPIO_WritePin(MCU_WAKE_GPIO_Port, MCU_WAKE_Pin, GPIO_PIN_SET); //wake AFE if in shutdown
	  HAL_GPIO_WritePin(BUZZER_IP_GPIO_Port, BUZZER_IP_Pin, GPIO_PIN_SET);  // Buzzer ip pin set High

}

/*Modified Portion*/
//Function to initialize the time

/* USER CODE END 4 */

void Error_Handler(void)
{
  /* USER CODE BEGIN Error_Handler_Debug */
  /* User can add his own implementation to report the HAL error return state */
  __disable_irq();

  while (1)
  {
	  //Handling the CAN transmission error
	  if(can_transmit_error_flag==1)
	  {

		  MX_CAN_Init();
		  HAL_Delay(100);
		  can_transmit_error_flag=0;
		  break;
	  }

	  //Handling the CAN reception error
	  if(can_receive_error_flag==1)
	  {
		  //LED_ON(); //To confirm if the error is in the CAN reception portion
		  MX_CAN_Init();
		  HAL_Delay(100);
		  can_receive_error_flag=0;
		  break;

	  }

  }
  /* USER CODE END Error_Handler_Debug */
}
